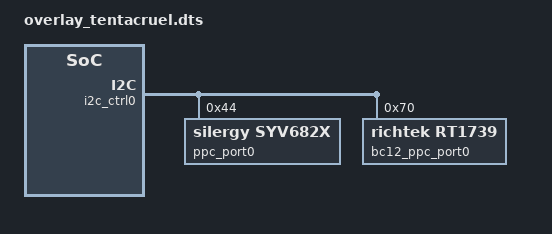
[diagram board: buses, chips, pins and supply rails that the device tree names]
/ {
	usbc {
		port0@0 {
			ppc = <&bc12_ppc_port0>;
			ppc_alt = <&ppc_port0>;
		};
	};
};

&i2c_ctrl0 {
	ppc_port0: syv682x@44 {
		compatible = "silergy,syv682x", "cros,i2c-mock";
		status = "okay";
		reg = <0x44>;
	};

	bc12_ppc_port0: rt1739@70 {
		compatible = "richtek,rt1739", "cros,i2c-mock";
		status = "okay";
		reg = <0x70>;
	};
};

&ppc0_emul {
	frs_en_gpio = <&usb_c0_frs_en>;
	alert_gpio = <&usb_c0_ppc_int_odl>;
};

#include <../projects/corsola/interrupts_tentacruel.dts>
#include <../projects/corsola/gpio_tentacruel.dts>
#include <../projects/corsola/cbi_tentacruel.dts>
